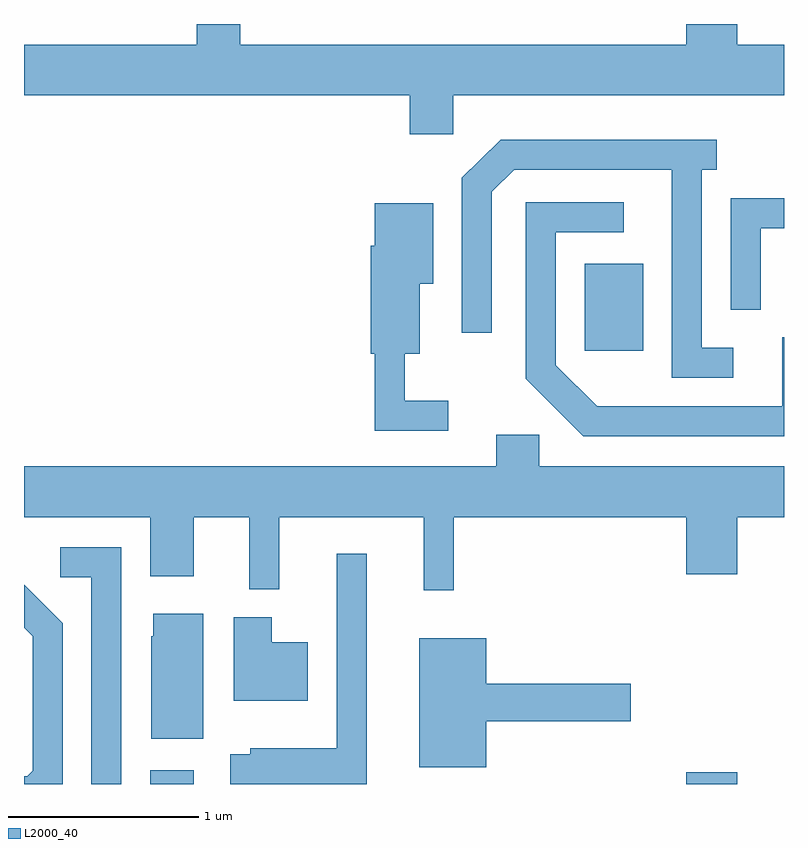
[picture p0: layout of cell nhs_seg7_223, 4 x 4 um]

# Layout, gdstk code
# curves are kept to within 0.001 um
import gdstk
lib = gdstk.Library(unit=1e-6, precision=1e-09)
def R(c, l, rs):  # rectangles x0, y0, x1, y1
    for r in rs: c.add(gdstk.rectangle(r[:2], r[2:], *l))
def P(c, l, *ps):  # polygons
    for p in ps: c.add(gdstk.Polygon(p, *l))
L2000_40 = (2000, 40)

nhs_seg7_223 = lib.new_cell('nhs_seg7_223')
R(nhs_seg7_223, L2000_40, [(192.276,1706.252,192.504,1706.324), (195.096,1706.252,195.364,1706.314), (194.561,1708.531,194.869,1708.989)])
P(nhs_seg7_223, L2000_40, [(193.869,1709.876),(195.611,1709.876),(195.611,1710.144),(195.364,1710.144),(195.364,1710.252),(195.096,1710.252),(195.096,1710.144),(192.749,1710.144),(192.749,1710.252),(192.521,1710.252),(192.521,1710.144),(191.611,1710.144),(191.611,1709.876),(193.641,1709.876),(193.641,1709.671),(193.869,1709.671)],
  [(195.343,1708.549),(195.179,1708.549),(195.179,1709.486),(195.258,1709.486),(195.258,1709.644),(194.119,1709.644),(193.916,1709.442),(193.916,1708.628),(194.074,1708.628),(194.074,1709.369),(194.192,1709.486),(195.021,1709.486),(195.021,1708.391),(195.343,1708.391)],
  [(195.489,1709.176),(195.611,1709.176),(195.611,1709.334),(195.331,1709.334),(195.331,1708.748),(195.489,1708.748)],
  [(195.611,1708.604),(195.601,1708.604),(195.601,1708.239),(194.627,1708.239),(194.409,1708.457),(194.409,1709.156),(194.768,1709.156),(194.768,1709.314),(194.251,1709.314),(194.251,1708.384),(194.554,1708.081),(195.611,1708.081)],
  [(193.843,1708.269),(193.614,1708.269),(193.614,1708.516),(193.694,1708.516),(193.694,1708.886),(193.764,1708.886),(193.764,1709.309),(193.456,1709.309),(193.456,1709.084),(193.436,1709.084),(193.436,1708.516),(193.456,1708.516),(193.456,1708.111),(193.843,1708.111)],
  [(193.874,1707.656),(195.096,1707.656),(195.096,1707.356),(195.364,1707.356),(195.364,1707.656),(195.611,1707.656),(195.611,1707.924),(194.324,1707.924),(194.324,1708.089),(194.096,1708.089),(194.096,1707.924),(191.611,1707.924),(191.611,1707.656),(192.276,1707.656),(192.276,1707.346),(192.504,1707.346),(192.504,1707.656),(192.796,1707.656),(192.796,1707.278),(192.954,1707.278),(192.954,1707.656),(193.716,1707.656),(193.716,1707.273),(193.874,1707.273)],
  [(192.124,1707.499),(191.803,1707.499),(191.803,1707.341),(191.966,1707.341),(191.966,1706.252),(192.124,1706.252)],
  [(193.414,1707.463),(193.256,1707.463),(193.256,1706.439),(192.801,1706.439),(192.801,1706.409),(192.696,1706.409),(192.696,1706.252),(193.414,1706.252)],
  [(191.814,1707.097),(191.611,1707.3),(191.611,1707.074),(191.656,1707.029),(191.656,1706.322),(191.629,1706.294),(191.611,1706.294),(191.611,1706.252),(191.814,1706.252)],
  [(192.554,1707.149),(192.291,1707.149),(192.291,1707.03),(192.281,1707.03),(192.281,1706.491),(192.554,1706.491)],
  [(193.104,1706.999),(192.914,1706.999),(192.914,1707.129),(192.716,1707.129),(192.716,1706.691),(193.104,1706.691)],
  [(194.044,1706.581),(194.804,1706.581),(194.804,1706.779),(194.044,1706.779),(194.044,1707.019),(193.691,1707.019),(193.691,1706.341),(194.044,1706.341)])

lib.write_gds('nhs_seg7_223.gds')
